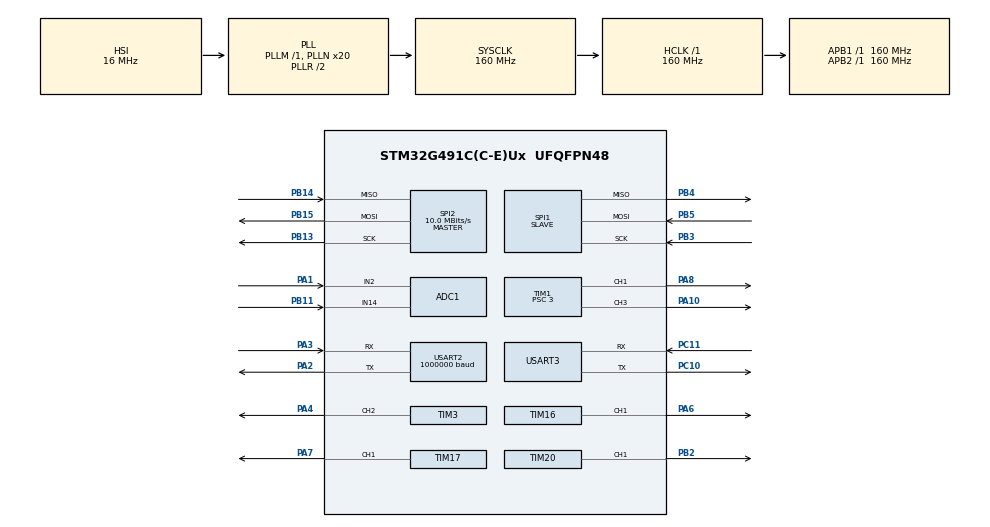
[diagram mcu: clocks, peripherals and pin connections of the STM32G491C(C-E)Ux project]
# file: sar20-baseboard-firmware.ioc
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ADC1.Channel-0\#ChannelRegularConversion=ADC_CHANNEL_2
ADC1.Channel-1\#ChannelRegularConversion=ADC_CHANNEL_14
ADC1.ClockPrescaler=ADC_CLOCK_SYNC_PCLK_DIV4
ADC1.ContinuousConvMode=DISABLE
ADC1.DMAContinuousRequests=ENABLE
ADC1.EOCSelection=ADC_EOC_SEQ_CONV
ADC1.ExternalTrigConv=ADC_EXTERNALTRIG_T7_TRGO
ADC1.NbrOfConversion=2
ADC1.NbrOfConversionFlag=1
ADC1.OffsetNumber-0\#ChannelRegularConversion=ADC_OFFSET_NONE
ADC1.OffsetNumber-1\#ChannelRegularConversion=ADC_OFFSET_NONE
ADC1.Overrun=ADC_OVR_DATA_OVERWRITTEN
ADC1.OversamplingMode=DISABLE
ADC1.Rank-0\#ChannelRegularConversion=1
ADC1.Rank-1\#ChannelRegularConversion=2
ADC1.SamplingTime-0\#ChannelRegularConversion=ADC_SAMPLETIME_6CYCLES_5
ADC1.SamplingTime-1\#ChannelRegularConversion=ADC_SAMPLETIME_6CYCLES_5
ADC1.master=1
CRC.DefaultPolynomialUse=DEFAULT_POLYNOMIAL_ENABLE
CRC.InputDataFormat=CRC_INPUTDATA_FORMAT_WORDS
CRC.InputDataInversionMode=CRC_INPUTDATA_INVERSION_NONE
CRC.OutputDataInversionMode=CRC_OUTPUTDATA_INVERSION_DISABLE
Dma.ADC1.2.Direction=DMA_PERIPH_TO_MEMORY
Dma.ADC1.2.EventEnable=DISABLE
Dma.ADC1.2.Instance=DMA1_Channel3
Dma.ADC1.2.MemDataAlignment=DMA_MDATAALIGN_HALFWORD
Dma.ADC1.2.MemInc=DMA_MINC_ENABLE
Dma.ADC1.2.Mode=DMA_CIRCULAR
Dma.ADC1.2.PeriphDataAlignment=DMA_PDATAALIGN_HALFWORD
Dma.ADC1.2.PeriphInc=DMA_PINC_DISABLE
Dma.ADC1.2.Polarity=HAL_DMAMUX_REQ_GEN_RISING
Dma.ADC1.2.Priority=DMA_PRIORITY_LOW
Dma.ADC1.2.RequestNumber=1
Dma.ADC1.2.SignalID=NONE
Dma.ADC1.2.SyncEnable=DISABLE
Dma.ADC1.2.SyncPolarity=HAL_DMAMUX_SYNC_NO_EVENT
Dma.ADC1.2.SyncRequestNumber=1
Dma.ADC1.2.SyncSignalID=NONE
Dma.Request0=USART3_RX
Dma.Request1=TIM17_CH1
Dma.Request2=ADC1
Dma.Request3=SPI2_RX
Dma.Request4=TIM4_UP
Dma.Request5=SPI1_RX
Dma.Request6=SPI1_TX
Dma.Request7=USART2_RX
Dma.Request8=USART2_TX
Dma.SPI1_RX.5.Direction=DMA_PERIPH_TO_MEMORY
Dma.SPI1_RX.5.EventEnable=DISABLE
Dma.SPI1_RX.5.Instance=DMA1_Channel6
Dma.SPI1_RX.5.MemDataAlignment=DMA_MDATAALIGN_BYTE
Dma.SPI1_RX.5.MemInc=DMA_MINC_ENABLE
Dma.SPI1_RX.5.Mode=DMA_CIRCULAR
Dma.SPI1_RX.5.PeriphDataAlignment=DMA_PDATAALIGN_BYTE
Dma.SPI1_RX.5.PeriphInc=DMA_PINC_DISABLE
Dma.SPI1_RX.5.Polarity=HAL_DMAMUX_REQ_GEN_RISING
Dma.SPI1_RX.5.Priority=DMA_PRIORITY_LOW
Dma.SPI1_RX.5.RequestNumber=1
Dma.SPI1_RX.5.SignalID=NONE
Dma.SPI1_RX.5.SyncEnable=DISABLE
Dma.SPI1_RX.5.SyncPolarity=HAL_DMAMUX_SYNC_NO_EVENT
Dma.SPI1_RX.5.SyncRequestNumber=1
Dma.SPI1_RX.5.SyncSignalID=NONE
Dma.SPI1_TX.6.Direction=DMA_MEMORY_TO_PERIPH
Dma.SPI1_TX.6.EventEnable=DISABLE
Dma.SPI1_TX.6.Instance=DMA1_Channel7
Dma.SPI1_TX.6.MemDataAlignment=DMA_MDATAALIGN_BYTE
Dma.SPI1_TX.6.MemInc=DMA_MINC_ENABLE
Dma.SPI1_TX.6.Mode=DMA_CIRCULAR
Dma.SPI1_TX.6.PeriphDataAlignment=DMA_PDATAALIGN_BYTE
Dma.SPI1_TX.6.PeriphInc=DMA_PINC_DISABLE
Dma.SPI1_TX.6.Polarity=HAL_DMAMUX_REQ_GEN_RISING
Dma.SPI1_TX.6.Priority=DMA_PRIORITY_LOW
Dma.SPI1_TX.6.RequestNumber=1
Dma.SPI1_TX.6.SignalID=NONE
Dma.SPI1_TX.6.SyncEnable=DISABLE
Dma.SPI1_TX.6.SyncPolarity=HAL_DMAMUX_SYNC_NO_EVENT
Dma.SPI1_TX.6.SyncRequestNumber=1
Dma.SPI1_TX.6.SyncSignalID=NONE
Dma.SPI2_RX.3.Direction=DMA_PERIPH_TO_MEMORY
Dma.SPI2_RX.3.EventEnable=DISABLE
Dma.SPI2_RX.3.Instance=DMA1_Channel4
Dma.SPI2_RX.3.MemDataAlignment=DMA_MDATAALIGN_HALFWORD
Dma.SPI2_RX.3.MemInc=DMA_MINC_ENABLE
Dma.SPI2_RX.3.Mode=DMA_CIRCULAR
Dma.SPI2_RX.3.PeriphDataAlignment=DMA_PDATAALIGN_HALFWORD
Dma.SPI2_RX.3.PeriphInc=DMA_PINC_DISABLE
Dma.SPI2_RX.3.Polarity=HAL_DMAMUX_REQ_GEN_RISING
Dma.SPI2_RX.3.Priority=DMA_PRIORITY_LOW
Dma.SPI2_RX.3.RequestNumber=1
Dma.SPI2_RX.3.SignalID=NONE
Dma.SPI2_RX.3.SyncEnable=DISABLE
Dma.SPI2_RX.3.SyncPolarity=HAL_DMAMUX_SYNC_NO_EVENT
Dma.SPI2_RX.3.SyncRequestNumber=1
Dma.SPI2_RX.3.SyncSignalID=NONE
Dma.TIM17_CH1.1.Direction=DMA_MEMORY_TO_PERIPH
Dma.TIM17_CH1.1.EventEnable=DISABLE
Dma.TIM17_CH1.1.Instance=DMA1_Channel2
Dma.TIM17_CH1.1.MemDataAlignment=DMA_MDATAALIGN_HALFWORD
Dma.TIM17_CH1.1.MemInc=DMA_MINC_ENABLE
Dma.TIM17_CH1.1.Mode=DMA_NORMAL
Dma.TIM17_CH1.1.PeriphDataAlignment=DMA_PDATAALIGN_HALFWORD
Dma.TIM17_CH1.1.PeriphInc=DMA_PINC_DISABLE
Dma.TIM17_CH1.1.Polarity=HAL_DMAMUX_REQ_GEN_RISING
Dma.TIM17_CH1.1.Priority=DMA_PRIORITY_LOW
Dma.TIM17_CH1.1.RequestNumber=1
Dma.TIM17_CH1.1.SignalID=NONE
Dma.TIM17_CH1.1.SyncEnable=DISABLE
Dma.TIM17_CH1.1.SyncPolarity=HAL_DMAMUX_SYNC_NO_EVENT
Dma.TIM17_CH1.1.SyncRequestNumber=1
Dma.TIM17_CH1.1.SyncSignalID=NONE
Dma.TIM4_UP.4.Direction=DMA_MEMORY_TO_PERIPH
Dma.TIM4_UP.4.EventEnable=DISABLE
Dma.TIM4_UP.4.Instance=DMA1_Channel5
Dma.TIM4_UP.4.MemDataAlignment=DMA_MDATAALIGN_HALFWORD
Dma.TIM4_UP.4.MemInc=DMA_MINC_ENABLE
Dma.TIM4_UP.4.Mode=DMA_CIRCULAR
Dma.TIM4_UP.4.PeriphDataAlignment=DMA_PDATAALIGN_HALFWORD
Dma.TIM4_UP.4.PeriphInc=DMA_PINC_DISABLE
Dma.TIM4_UP.4.Polarity=HAL_DMAMUX_REQ_GEN_RISING
Dma.TIM4_UP.4.Priority=DMA_PRIORITY_LOW
Dma.TIM4_UP.4.RequestNumber=1
Dma.TIM4_UP.4.SignalID=NONE
Dma.TIM4_UP.4.SyncEnable=DISABLE
Dma.TIM4_UP.4.SyncPolarity=HAL_DMAMUX_SYNC_NO_EVENT
Dma.TIM4_UP.4.SyncRequestNumber=1
Dma.TIM4_UP.4.SyncSignalID=NONE
Dma.USART2_RX.7.Direction=DMA_PERIPH_TO_MEMORY
Dma.USART2_RX.7.EventEnable=DISABLE
Dma.USART2_RX.7.Instance=DMA1_Channel8
Dma.USART2_RX.7.MemDataAlignment=DMA_MDATAALIGN_BYTE
Dma.USART2_RX.7.MemInc=DMA_MINC_ENABLE
Dma.USART2_RX.7.Mode=DMA_CIRCULAR
Dma.USART2_RX.7.PeriphDataAlignment=DMA_PDATAALIGN_BYTE
Dma.USART2_RX.7.PeriphInc=DMA_PINC_DISABLE
Dma.USART2_RX.7.Polarity=HAL_DMAMUX_REQ_GEN_RISING
Dma.USART2_RX.7.Priority=DMA_PRIORITY_LOW
Dma.USART2_RX.7.RequestNumber=1
Dma.USART2_RX.7.SignalID=NONE
Dma.USART2_RX.7.SyncEnable=DISABLE
Dma.USART2_RX.7.SyncPolarity=HAL_DMAMUX_SYNC_NO_EVENT
Dma.USART2_RX.7.SyncRequestNumber=1
Dma.USART2_RX.7.SyncSignalID=NONE
Dma.USART2_TX.8.Direction=DMA_MEMORY_TO_PERIPH
Dma.USART2_TX.8.EventEnable=DISABLE
Dma.USART2_TX.8.Instance=DMA2_Channel1
Dma.USART2_TX.8.MemDataAlignment=DMA_MDATAALIGN_BYTE
Dma.USART2_TX.8.MemInc=DMA_MINC_ENABLE
Dma.USART2_TX.8.Mode=DMA_NORMAL
Dma.USART2_TX.8.PeriphDataAlignment=DMA_PDATAALIGN_BYTE
Dma.USART2_TX.8.PeriphInc=DMA_PINC_DISABLE
Dma.USART2_TX.8.Polarity=HAL_DMAMUX_REQ_GEN_RISING
Dma.USART2_TX.8.Priority=DMA_PRIORITY_LOW
Dma.USART2_TX.8.RequestNumber=1
Dma.USART2_TX.8.SignalID=NONE
Dma.USART2_TX.8.SyncEnable=DISABLE
Dma.USART2_TX.8.SyncPolarity=HAL_DMAMUX_SYNC_NO_EVENT
Dma.USART2_TX.8.SyncRequestNumber=1
Dma.USART2_TX.8.SyncSignalID=NONE
Dma.USART3_RX.0.Direction=DMA_PERIPH_TO_MEMORY
Dma.USART3_RX.0.EventEnable=DISABLE
Dma.USART3_RX.0.Instance=DMA1_Channel1
Dma.USART3_RX.0.MemDataAlignment=DMA_MDATAALIGN_BYTE
Dma.USART3_RX.0.MemInc=DMA_MINC_ENABLE
Dma.USART3_RX.0.Mode=DMA_CIRCULAR
Dma.USART3_RX.0.PeriphDataAlignment=DMA_PDATAALIGN_BYTE
Dma.USART3_RX.0.PeriphInc=DMA_PINC_DISABLE
Dma.USART3_RX.0.Polarity=HAL_DMAMUX_REQ_GEN_RISING
Dma.USART3_RX.0.Priority=DMA_PRIORITY_LOW
Dma.USART3_RX.0.RequestNumber=1
Dma.USART3_RX.0.SignalID=NONE
Dma.USART3_RX.0.SyncEnable=DISABLE
Dma.USART3_RX.0.SyncPolarity=HAL_DMAMUX_SYNC_NO_EVENT
Dma.USART3_RX.0.SyncRequestNumber=1
Dma.USART3_RX.0.SyncSignalID=NONE
Mcu.Family=STM32G4
Mcu.Name=STM32G491C(C-E)Ux
Mcu.Package=UFQFPN48
NVIC.ADC1_2_IRQn=true\:0\:0\:false\:false\:true\:true\:true
NVIC.DMA1_Channel1_IRQn=true\:0\:0\:false\:false\:true\:false\:true
NVIC.DMA1_Channel2_IRQn=true\:0\:0\:false\:false\:true\:false\:true
NVIC.DMA1_Channel3_IRQn=true\:0\:0\:false\:false\:true\:false\:true
NVIC.DMA1_Channel4_IRQn=true\:0\:0\:false\:false\:true\:false\:true
NVIC.DMA1_Channel5_IRQn=true\:0\:0\:false\:false\:true\:false\:true
NVIC.DMA1_Channel6_IRQn=true\:0\:0\:false\:false\:true\:false\:true
NVIC.DMA1_Channel7_IRQn=true\:0\:0\:false\:false\:true\:false\:true
NVIC.DMA1_Channel8_IRQn=true\:0\:0\:false\:false\:true\:false\:true
NVIC.DMA2_Channel1_IRQn=true\:0\:0\:false\:false\:true\:false\:true
NVIC.PriorityGroup=NVIC_PRIORITYGROUP_4
NVIC.USART2_IRQn=true\:0\:0\:false\:false\:true\:true\:true
NVIC.USART3_IRQn=true\:0\:0\:false\:false\:true\:true\:true
PA1.Mode=IN2-Single-Ended
PA1.Signal=ADC1_IN2
PA10.Signal=S_TIM1_CH3
PA13.Mode=Serial_Wire
PA13.Signal=SYS_JTMS-SWDIO
PA14.Mode=Serial_Wire
PA14.Signal=SYS_JTCK-SWCLK
PA2.GPIO_Speed=GPIO_SPEED_FREQ_LOW
PA2.Mode=Asynchronous
PA2.Signal=USART2_TX
PA3.GPIO_Speed=GPIO_SPEED_FREQ_LOW
PA3.Mode=Asynchronous
PA3.Signal=USART2_RX
PA4.Signal=S_TIM3_CH2
PA6.Signal=S_TIM16_CH1
PA7.Signal=S_TIM17_CH1
PA8.Signal=S_TIM1_CH1
PB11.Mode=IN14-Single-Ended
PB11.Signal=ADC1_IN14
PB13.Mode=Full_Duplex_Master
PB13.Signal=SPI2_SCK
PB14.Mode=Full_Duplex_Master
PB14.Signal=SPI2_MISO
PB15.Mode=Full_Duplex_Master
PB15.Signal=SPI2_MOSI
PB2.Mode=PWM Generation1 CH1
PB2.Signal=TIM20_CH1
PB3.Mode=Full_Duplex_Slave
PB3.Signal=SPI1_SCK
PB4.Mode=Full_Duplex_Slave
PB4.Signal=SPI1_MISO
PB5.Mode=Full_Duplex_Slave
PB5.Signal=SPI1_MOSI
PC10.Mode=Asynchronous
PC10.Signal=USART3_TX
PC11.Mode=Asynchronous
PC11.Signal=USART3_RX
ProjectManager.HeapSize=0x200
ProjectManager.StackSize=0x400
ProjectManager.TargetToolchain=STM32CubeIDE
RCC.ADC12Freq_Value=160000000
RCC.ADC345Freq_Value=160000000
RCC.AHBFreq_Value=160000000
RCC.APB1Freq_Value=160000000
RCC.APB1TimFreq_Value=160000000
RCC.APB2Freq_Value=160000000
RCC.APB2TimFreq_Value=160000000
RCC.CortexFreq_Value=160000000
RCC.EXTERNAL_CLOCK_VALUE=12288000
RCC.HCLKFreq_Value=160000000
RCC.HSE_VALUE=8000000
RCC.HSI48_VALUE=48000000
RCC.HSI_VALUE=16000000
RCC.LSE_VALUE=32768
RCC.PLLN=20
RCC.SYSCLKFreq_VALUE=160000000
RCC.SYSCLKSource=RCC_SYSCLKSOURCE_PLLCLK
RCC.USBFreq_Value=48000000
RCC.VCOOutputFreq_Value=320000000
SH.S_TIM16_CH1.0=TIM16_CH1,PWM Generation1 CH1
SH.S_TIM17_CH1.0=TIM17_CH1,PWM Generation1 CH1
SH.S_TIM1_CH1.0=TIM1_CH1,PWM Generation1 CH1
SH.S_TIM1_CH3.0=TIM1_CH3,PWM Generation3 CH3
SH.S_TIM3_CH2.0=TIM3_CH2,PWM Generation2 CH2
SPI1.Direction=SPI_DIRECTION_2LINES
SPI1.Mode=SPI_MODE_SLAVE
SPI1.VirtualType=VM_SLAVE
SPI2.BaudRatePrescaler=SPI_BAUDRATEPRESCALER_16
SPI2.CalculateBaudRate=10.0 MBits/s
SPI2.DataSize=SPI_DATASIZE_16BIT
SPI2.Direction=SPI_DIRECTION_2LINES
SPI2.Mode=SPI_MODE_MASTER
SPI2.VirtualType=VM_MASTER
TIM1.Channel-PWM\ Generation1\ CH1=TIM_CHANNEL_1
TIM1.Channel-PWM\ Generation2\ No\ Output=TIM_CHANNEL_2
TIM1.Channel-PWM\ Generation3\ CH3=TIM_CHANNEL_3
TIM1.Channel-PWM\ Generation4\ No\ Output=TIM_CHANNEL_4
TIM1.OCIdleState_1=TIM_OCIDLESTATE_SET
TIM1.OCIdleState_2=TIM_OCIDLESTATE_SET
TIM1.OCIdleState_3=TIM_OCIDLESTATE_SET
TIM1.OCIdleState_4=TIM_OCIDLESTATE_SET
TIM1.OCMode_PWM-PWM\ Generation1\ CH1=TIM_OCMODE_COMBINED_PWM2
TIM1.OCMode_PWM-PWM\ Generation2\ No\ Output=TIM_OCMODE_COMBINED_PWM1
TIM1.OCMode_PWM-PWM\ Generation3\ CH3=TIM_OCMODE_COMBINED_PWM2
TIM1.OCMode_PWM-PWM\ Generation4\ No\ Output=TIM_OCMODE_COMBINED_PWM1
TIM1.OCPolarity_1=TIM_OCPOLARITY_LOW
TIM1.OCPolarity_2=TIM_OCPOLARITY_LOW
TIM1.OCPolarity_3=TIM_OCPOLARITY_LOW
TIM1.OCPolarity_4=TIM_OCPOLARITY_LOW
TIM1.PeriodNoDither=39999
TIM1.Prescaler=3
TIM1.PulseNoDither_1=45
TIM1.PulseNoDither_2=124
TIM1.PulseNoDither_3=125
TIM1.PulseNoDither_4=204
TIM1.TIM_MasterOutputTrigger=TIM_TRGO_UPDATE
TIM1.TIM_MasterSlaveMode=TIM_MASTERSLAVEMODE_ENABLE
TIM15.Channel-PWM\ Generation1\ No\ Output=TIM_CHANNEL_1
TIM15.PeriodNoDither=39999
TIM15.Prescaler=3
TIM15.PulseNoDither_1=240
TIM15.TIM_MasterOutputTrigger=TIM_TRGO_OC1REF
TIM15.TIM_MasterSlaveMode=TIM_MASTERSLAVEMODE_ENABLE
TIM16.Channel=TIM_CHANNEL_1
TIM16.PeriodNoDither=6399
TIM16.PulseNoDither_1=3200
TIM17.Channel=TIM_CHANNEL_1
TIM17.PeriodNoDither=200
TIM17.PulseNoDither_1=50
TIM20.Channel-PWM\ Generation1\ CH1=TIM_CHANNEL_1
TIM20.Channel-PWM\ Generation2\ No\ Output=TIM_CHANNEL_2
TIM20.OCIdleState_1=TIM_OCIDLESTATE_SET
TIM20.OCIdleState_2=TIM_OCIDLESTATE_SET
TIM20.OCMode_PWM-PWM\ Generation1\ CH1=TIM_OCMODE_COMBINED_PWM2
TIM20.OCMode_PWM-PWM\ Generation2\ No\ Output=TIM_OCMODE_COMBINED_PWM1
TIM20.OCPolarity_1=TIM_OCPOLARITY_LOW
TIM20.OCPolarity_2=TIM_OCPOLARITY_LOW
TIM20.PeriodNoDither=39999
TIM20.Prescaler=3
TIM20.PulseNoDither_1=205
TIM20.PulseNoDither_2=284
TIM20.TIM_MasterSlaveMode=TIM_MASTERSLAVEMODE_ENABLE
TIM3.Channel-PWM\ Generation2\ CH2=TIM_CHANNEL_2
TIM3.PeriodNoDither=39999
TIM3.PulseNoDither_2=0
TIM4.PeriodNoDither=287
TIM4.TIM_MasterSlaveMode=TIM_MASTERSLAVEMODE_ENABLE
TIM7.PeriodNoDither=63999
TIM7.Prescaler=249
TIM7.TIM_MasterOutputTrigger=TIM_TRGO_UPDATE
USART2.BaudRate=1000000
USART2.VirtualMode-Asynchronous=VM_ASYNC
USART3.VirtualMode-Asynchronous=VM_ASYNC
VP_CRC_VS_CRC.Mode=CRC_Activate
VP_SYS_VS_DBSignals.Mode=DisableDeadBatterySignals
VP_SYS_V_VREFBUF.Mode=ExternalMode
VP_TIM15_VS_ClockSourceITR.Mode=TriggerSource_ITR0
VP_TIM15_VS_ControllerModeTrigger.Mode=Trigger Mode
VP_TIM15_VS_no_output1.Mode=PWM Generation1 No Output
VP_TIM16_VS_ClockSourceINT.Mode=Enable_Timer
VP_TIM17_VS_ClockSourceINT.Mode=Enable_Timer
VP_TIM1_VS_no_output2.Mode=PWM Generation2 No Output
VP_TIM1_VS_no_output4.Mode=PWM Generation4 No Output
VP_TIM20_VS_ClockSourceITR.Mode=TriggerSource_ITR0
VP_TIM20_VS_ControllerModeTrigger.Mode=Trigger Mode
VP_TIM20_VS_no_output2.Mode=PWM Generation2 No Output
VP_TIM4_VS_ClockSourceINT.Mode=Internal
VP_TIM4_VS_ClockSourceITR.Mode=TriggerSource_ITR6
VP_TIM4_VS_ControllerModeCombinedResetTrigger.Mode=Combined_gated_reset_Mode
VP_TIM7_VS_ClockSourceINT.Mode=Enable_Timer
board=custom

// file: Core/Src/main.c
/* USER CODE BEGIN Header */
/**
  ******************************************************************************
  * @file           : main.c
  * @brief          : Main program body
  ******************************************************************************
  * @attention
  *
  * <h2><center>&copy; Copyright (c) 2021 STMicroelectronics.
  * All rights reserved.</center></h2>
  *
  * This software component is licensed by ST under BSD 3-Clause license,
  * the "License"; You may not use this file except in compliance with the
  * License. You may obtain a copy of the License at:
  *                        opensource.org/licenses/BSD-3-Clause
  *
  ******************************************************************************
  */
/* USER CODE END Header */
#include "main.h"

/* USER CODE BEGIN Includes */
#include <string.h>
/* USER CODE END Includes */

/* USER CODE BEGIN PTD */
typedef struct MainCommand {
  float speed1Hz;
  float speed2Hz;
  float speed3Hz;
  uint32_t crcValue;
} MainCommand;

typedef struct MainFeedback {
  uint16_t position1;
  uint16_t position2;
  uint16_t position3;
  int16_t distances[12];
  uint32_t crcValue;
} MainFeedback;

typedef struct DebugCommand {
  float speed1Hz;
  float speed2Hz;
  float speed3Hz;
  uint32_t requestInfo;
  uint32_t crcValue;
} DebugCommand;

typedef struct __attribute__((packed)) DebugFeedback {
  uint16_t position1;
  uint16_t position2;
  uint16_t position3;
  int16_t distances[12];
  uint16_t delimiter;
} DebugFeedback;

typedef struct __attribute__((packed)) MotorsCommand {
  int16_t speedRef1_mHz;
  int16_t speedRef2_mHz;
  int16_t speedRef3_mHz;
} MotorsCommand;

typedef struct __attribute__((packed)) MotorsFeedback {
  uint16_t position1;
  uint16_t position2;
  uint16_t position3;
} MotorsFeedback;

typedef struct __attribute__((packed)) DistanceFeedback {
  int16_t distances[12];
} DistanceFeedback;
/* USER CODE END PTD */

/* USER CODE BEGIN PM */
#define max(a,b)             \
({                           \
    __typeof__ (a) _a = (a); \
    __typeof__ (b) _b = (b); \
    _a > _b ? _a : _b;       \
})

#define min(a,b)             \
({                           \
    __typeof__ (a) _a = (a); \
    __typeof__ (b) _b = (b); \
    _a < _b ? _a : _b;       \
})
/* USER CODE END PM */

ADC_HandleTypeDef hadc1;
DMA_HandleTypeDef hdma_adc1;

CRC_HandleTypeDef hcrc;

SPI_HandleTypeDef hspi1;
SPI_HandleTypeDef hspi2;
DMA_HandleTypeDef hdma_spi1_rx;
DMA_HandleTypeDef hdma_spi1_tx;
DMA_HandleTypeDef hdma_spi2_rx;

TIM_HandleTypeDef htim1;
TIM_HandleTypeDef htim3;
TIM_HandleTypeDef htim4;
TIM_HandleTypeDef htim7;
TIM_HandleTypeDef htim15;
TIM_HandleTypeDef htim16;
TIM_HandleTypeDef htim17;
TIM_HandleTypeDef htim20;
DMA_HandleTypeDef hdma_tim4_up;
DMA_HandleTypeDef hdma_tim17_ch1;

UART_HandleTypeDef huart2;
UART_HandleTypeDef huart3;
DMA_HandleTypeDef hdma_usart2_rx;
DMA_HandleTypeDef hdma_usart2_tx;
DMA_HandleTypeDef hdma_usart3_rx;

/* USER CODE BEGIN PV */
MainCommand mainCommand = {
    .speed1Hz = 0.0f,
    .speed2Hz = 0.0f,
    .speed3Hz = 0.0f,
    .crcValue = 0
};

MainFeedback mainFeedback = {
    .position1 = 0,
    .position2 = 0,
    .position3 = 0,
    .distances = {},
    .crcValue = 0
};

DebugCommand debugCommand = {
    .speed1Hz = 0.0f,
    .speed2Hz = 0.0f,
    .speed3Hz = 0.0f,
    .requestInfo = 0,
    .crcValue = 0
};

DebugFeedback debugFeedback = {
    .position1 = 0,
    .position2 = 0,
    .position3 = 0,
    .distances = {},
    .delimiter = 0xAAAA
};

MotorsCommand motorsCommand = {
    .speedRef1_mHz = 0,
    .speedRef2_mHz = 0,
    .speedRef3_mHz = 0
};

MotorsFeedback motorsFeedback = {
    .position1 = 0,
    .position2 = 0,
    .position3 = 0
};

DistanceFeedback distanceFeedback = {
    .distances = {}
};
/* USER CODE END PV */

void SystemClock_Config(void);
static void MX_GPIO_Init(void);
static void MX_DMA_Init(void);
static void MX_TIM16_Init(void);
static void MX_USART3_UART_Init(void);
static void MX_CRC_Init(void);
static void MX_TIM17_Init(void);
static void MX_ADC1_Init(void);
static void MX_TIM7_Init(void);
static void MX_TIM3_Init(void);
static void MX_TIM1_Init(void);
static void MX_TIM20_Init(void);
static void MX_SPI2_Init(void);
static void MX_TIM4_Init(void);
static void MX_TIM15_Init(void);
static void MX_SPI1_Init(void);
static void MX_USART2_UART_Init(void);

/* USER CODE BEGIN 0 */
uint8_t uartRxData[20];
uint32_t debugCommandCRCValue = 0;
uint32_t uartRxEventCallbackCounter = 0;
uint32_t uartRxEventCallbackByteCounter = 0;
volatile uint32_t hasReceivedUARTCommand = 0;
volatile uint32_t hasReceivedDistanceFeedback = 0;
uint32_t shouldSendDebugInfo = 0;

uint16_t ledPWMPeriods[49] = {};
uint8_t ledColorValues[6] = {50, 50, 50, 50, 50, 50};

uint16_t adcData[2] = {0, 0};
uint32_t adcMeasurementsDone = 0;

volatile uint32_t hasReceivedMainCommand = 0;
uint32_t mainCommandCRCValue = 0;

int limit(int value, int min, int max) {
  if (value < min) return min;
  if (value > max) return max;
  return value;
}

void setMotorSpeedCommand(MotorsCommand* command, float speed1, float speed2, float speed3) {
  command->speedRef1_mHz = (int16_t)(speed1 * 1000.0f);
  command->speedRef2_mHz = (int16_t)(speed2 * 1000.0f);
  command->speedRef3_mHz = (int16_t)(speed3 * 1000.0f);
}

void setLEDs(uint8_t grbValues[]) {
  for (int i = 0; i < 6; i++) {
    uint8_t colorValue = grbValues[i];

    for (int k = 0; k < 8; k++) {
      int index = 8 * i + k;
      int bitMask = 1 << (7 - k);
      int bitValue = colorValue & bitMask;

      ledPWMPeriods[index] = bitValue ? 100 : 50;
    }
  }
}

void HAL_SPI_RxCpltCallback(SPI_HandleTypeDef *hspi) {
  hasReceivedMainCommand = 1;
}

void HAL_UART_RxCpltCallback(UART_HandleTypeDef *huart) {
  if (huart == &huart2) {
    hasReceivedDistanceFeedback = 1;
  } else if (huart == &huart3) {
    hasReceivedUARTCommand = 1;
  }
}

void HAL_ADC_ConvCpltCallback(ADC_HandleTypeDef *hadc) {
  adcMeasurementsDone = 1;
}
/* USER CODE END 0 */

int main(void)
{

  /* MCU Configuration--------------------------------------------------------*/

  /* Reset of all peripherals, Initializes the Flash interface and the Systick. */
  HAL_Init();

  /* Configure the system clock */
  SystemClock_Config();

  /* Initialize all configured peripherals */
  MX_GPIO_Init();
  MX_DMA_Init();
  MX_TIM16_Init();
  MX_USART3_UART_Init();
  MX_CRC_Init();
  MX_TIM17_Init();
  MX_ADC1_Init();
  MX_TIM7_Init();
  MX_TIM3_Init();
  MX_TIM1_Init();
  MX_TIM20_Init();
  MX_SPI2_Init();
  MX_TIM4_Init();
  MX_TIM15_Init();
  MX_SPI1_Init();
  MX_USART2_UART_Init();
  /* USER CODE BEGIN 2 */
  HAL_ADC_Start_DMA(&hadc1, (uint32_t*)adcData, 2);
  HAL_ADC_Start_IT(&hadc1);
  HAL_TIM_Base_Start(&htim7);

  HAL_UART_Receive_DMA(&huart2, (uint8_t*)&distanceFeedback, sizeof(distanceFeedback));

  HAL_TIM_PWM_Start(&htim16, TIM_CHANNEL_1);
  HAL_UART_Receive_DMA(&huart3, uartRxData, sizeof(uartRxData));

  ledPWMPeriods[48] = 0;
  setLEDs(ledColorValues);
  HAL_TIM_PWM_Start_DMA(&htim17, TIM_CHANNEL_1, (uint32_t*)ledPWMPeriods, sizeof(ledPWMPeriods) / sizeof(ledPWMPeriods[0]));

  htim3.Instance->CCR2 = 0;
  HAL_TIM_PWM_Start(&htim3, TIM_CHANNEL_2);

  // Motors SPI
  uint16_t nssOffset = 78;
  uint16_t nssPeriod = 72;

  htim1.Instance->CCR1 = nssOffset;
  htim1.Instance->CCR2 = nssOffset + nssPeriod - 1;
  htim1.Instance->CCR3 = nssOffset + nssPeriod;
  htim1.Instance->CCR4 = nssOffset + nssPeriod * 2 - 1;
  htim20.Instance->CCR1 = nssOffset + nssPeriod * 2;
  htim20.Instance->CCR2 = nssOffset + nssPeriod * 3 - 1;
  htim15.Instance->CCR1 = 160; // 1 unit = 25ns

  htim4.Instance->ARR = nssPeriod * 4 - 1;
  htim4.Instance->CNT = 0;

  HAL_SPI_Receive_DMA(&hspi2, (uint8_t*)&motorsFeedback, 3);
  HAL_DMA_Start(&hdma_tim4_up, (uint32_t)&motorsCommand, (uint32_t)&(hspi2.Instance->DR), 3);
  __HAL_TIM_ENABLE_DMA(&htim4, TIM_DMA_UPDATE);
  // TIM20 for NSS3
  HAL_TIM_PWM_Start(&htim20, TIM_CHANNEL_1);
  HAL_TIM_PWM_Start(&htim20, TIM_CHANNEL_2);

  __HAL_SPI_ENABLE(&hspi2);
  HAL_TIM_Base_Start(&htim15);

  HAL_TIM_PWM_Start(&htim1, TIM_CHANNEL_1);
  HAL_TIM_PWM_Start(&htim1, TIM_CHANNEL_2);
  HAL_TIM_PWM_Start(&htim1, TIM_CHANNEL_3);
  HAL_TIM_PWM_Start(&htim1, TIM_CHANNEL_4);

  HAL_TIM_Base_Start(&htim4);

  HAL_SPI_TransmitReceive_DMA(&hspi1, (uint8_t*)&mainFeedback, (uint8_t*)&mainCommand, sizeof(mainCommand));
  /* USER CODE END 2 */

  /* Infinite loop */
  while (1)
  {

    /* USER CODE BEGIN 3 */
    if (hasReceivedMainCommand) {
      hasReceivedMainCommand = 0;

      mainCommandCRCValue = HAL_CRC_Calculate(&hcrc, (uint32_t*)&mainCommand, sizeof(mainCommand) / 4 - 1);

      if (mainCommandCRCValue == mainCommand.crcValue) {
        setMotorSpeedCommand(&motorsCommand, mainCommand.speed1Hz, mainCommand.speed2Hz, mainCommand.speed3Hz);
      }
    }

    if (hasReceivedDistanceFeedback) {
      hasReceivedDistanceFeedback = 0;

      memcpy(mainFeedback.distances, distanceFeedback.distances, sizeof(mainFeedback.distances));
    }

    if (hasReceivedUARTCommand) {
      hasReceivedUARTCommand = 0;

      debugCommandCRCValue = HAL_CRC_Calculate(&hcrc, (uint32_t*)uartRxData, sizeof(debugCommand) / 4 - 1);

      uint32_t receivedCRCValue = ((uint32_t *)uartRxData)[sizeof(uartRxData) / 4 - 1]; // last uint32 in the buffer

      if (debugCommandCRCValue == receivedCRCValue) {
        memcpy(&debugCommand, uartRxData, sizeof(uartRxData));

        shouldSendDebugInfo = debugCommand.requestInfo;
        setMotorSpeedCommand(&motorsCommand, debugCommand.speed1Hz, debugCommand.speed2Hz, debugCommand.speed3Hz);
      }
    }

    if (shouldSendDebugInfo) {
      shouldSendDebugInfo = 0;

      debugFeedback.position1 = motorsFeedback.position1;
      debugFeedback.position2 = motorsFeedback.position2;
      debugFeedback.position3 = motorsFeedback.position3;

      memcpy(debugFeedback.distances, distanceFeedback.distances, sizeof(debugFeedback.distances));

      HAL_UART_Transmit(&huart3, (uint8_t*)&debugFeedback, sizeof(debugFeedback), 1000);
    }

    if (adcMeasurementsDone) {
      adcMeasurementsDone = 0;
      uint16_t mainBatteryVoltage_mV = adcData[0] / 2;
      uint16_t motorsBatteryVoltage_mV = adcData[1] / 2;

      int32_t mainBatteryChargePercentage = limit((mainBatteryVoltage_mV - 900) / 3, 0, 100);
      int32_t motorsBatteryChargePercentage = limit((motorsBatteryVoltage_mV - 900) / 3, 0, 100);

      if (motorsBatteryVoltage_mV > 10) {
        ledColorValues[0] = motorsBatteryChargePercentage / 4;
        ledColorValues[1] = (100 - motorsBatteryChargePercentage) / 4;
        ledColorValues[2] = 0;
      } else {
        ledColorValues[0] = 0;
        ledColorValues[1] = 0;
        ledColorValues[2] = 25;
      }

      if (mainBatteryVoltage_mV > 10) {
        ledColorValues[3] = mainBatteryChargePercentage / 4;
        ledColorValues[4] = (100 - mainBatteryChargePercentage) / 4;
        ledColorValues[5] = 0;
      } else {
        ledColorValues[3] = 0;
        ledColorValues[4] = 0;
        ledColorValues[5] = 25;
      }

      setLEDs(ledColorValues);
      HAL_TIM_PWM_Start_DMA(&htim17, TIM_CHANNEL_1, (uint32_t*)ledPWMPeriods, sizeof(ledPWMPeriods) / sizeof(ledPWMPeriods[0]));
    }

    mainFeedback.position1 = motorsFeedback.position1;
    mainFeedback.position2 = motorsFeedback.position2;
    mainFeedback.position3 = motorsFeedback.position3;
    mainFeedback.crcValue = HAL_CRC_Calculate(&hcrc, (uint32_t*)&mainFeedback, sizeof(mainFeedback) / 4 - 1);
  }
  /* USER CODE END 3 */
}

void SystemClock_Config(void)
{
  RCC_OscInitTypeDef RCC_OscInitStruct = {0};
  RCC_ClkInitTypeDef RCC_ClkInitStruct = {0};
  RCC_PeriphCLKInitTypeDef PeriphClkInit = {0};

  /** Configure the main internal regulator output voltage
  */
  HAL_PWREx_ControlVoltageScaling(PWR_REGULATOR_VOLTAGE_SCALE1_BOOST);
  /** Initializes the RCC Oscillators according to the specified parameters
  * in the RCC_OscInitTypeDef structure.
  */
  RCC_OscInitStruct.OscillatorType = RCC_OSCILLATORTYPE_HSI;
  RCC_OscInitStruct.HSIState = RCC_HSI_ON;
  RCC_OscInitStruct.HSICalibrationValue = RCC_HSICALIBRATION_DEFAULT;
  RCC_OscInitStruct.PLL.PLLState = RCC_PLL_ON;
  RCC_OscInitStruct.PLL.PLLSource = RCC_PLLSOURCE_HSI;
  RCC_OscInitStruct.PLL.PLLM = RCC_PLLM_DIV1;
  RCC_OscInitStruct.PLL.PLLN = 20;
  RCC_OscInitStruct.PLL.PLLP = RCC_PLLP_DIV2;
  RCC_OscInitStruct.PLL.PLLQ = RCC_PLLQ_DIV2;
  RCC_OscInitStruct.PLL.PLLR = RCC_PLLR_DIV2;
  if (HAL_RCC_OscConfig(&RCC_OscInitStruct) != HAL_OK)
  {
    Error_Handler();
  }
  /** Initializes the CPU, AHB and APB buses clocks
  */
  RCC_ClkInitStruct.ClockType = RCC_CLOCKTYPE_HCLK|RCC_CLOCKTYPE_SYSCLK
                              |RCC_CLOCKTYPE_PCLK1|RCC_CLOCKTYPE_PCLK2;
  RCC_ClkInitStruct.SYSCLKSource = RCC_SYSCLKSOURCE_PLLCLK;
  RCC_ClkInitStruct.AHBCLKDivider = RCC_SYSCLK_DIV1;
  RCC_ClkInitStruct.APB1CLKDivider = RCC_HCLK_DIV1;
  RCC_ClkInitStruct.APB2CLKDivider = RCC_HCLK_DIV1;

  if (HAL_RCC_ClockConfig(&RCC_ClkInitStruct, FLASH_LATENCY_4) != HAL_OK)
  {
    Error_Handler();
  }
  /** Initializes the peripherals clocks
  */
  PeriphClkInit.PeriphClockSelection = RCC_PERIPHCLK_USART2|RCC_PERIPHCLK_USART3
                              |RCC_PERIPHCLK_ADC12;
  PeriphClkInit.Usart2ClockSelection = RCC_USART2CLKSOURCE_PCLK1;
  PeriphClkInit.Usart3ClockSelection = RCC_USART3CLKSOURCE_PCLK1;
  PeriphClkInit.Adc12ClockSelection = RCC_ADC12CLKSOURCE_SYSCLK;
  if (HAL_RCCEx_PeriphCLKConfig(&PeriphClkInit) != HAL_OK)
  {
    Error_Handler();
  }
}

static void MX_ADC1_Init(void)
{

  ADC_MultiModeTypeDef multimode = {0};
  ADC_ChannelConfTypeDef sConfig = {0};

  /** Common config
  */
  hadc1.Instance = ADC1;
  hadc1.Init.ClockPrescaler = ADC_CLOCK_SYNC_PCLK_DIV4;
  hadc1.Init.Resolution = ADC_RESOLUTION_12B;
  hadc1.Init.DataAlign = ADC_DATAALIGN_RIGHT;
  hadc1.Init.GainCompensation = 0;
  hadc1.Init.ScanConvMode = ADC_SCAN_ENABLE;
  hadc1.Init.EOCSelection = ADC_EOC_SEQ_CONV;
  hadc1.Init.LowPowerAutoWait = DISABLE;
  hadc1.Init.ContinuousConvMode = DISABLE;
  hadc1.Init.NbrOfConversion = 2;
  hadc1.Init.DiscontinuousConvMode = DISABLE;
  hadc1.Init.ExternalTrigConv = ADC_EXTERNALTRIG_T7_TRGO;
  hadc1.Init.ExternalTrigConvEdge = ADC_EXTERNALTRIGCONVEDGE_RISING;
  hadc1.Init.DMAContinuousRequests = ENABLE;
  hadc1.Init.Overrun = ADC_OVR_DATA_OVERWRITTEN;
  hadc1.Init.OversamplingMode = DISABLE;
  if (HAL_ADC_Init(&hadc1) != HAL_OK)
  {
    Error_Handler();
  }
  /** Configure the ADC multi-mode
  */
  multimode.Mode = ADC_MODE_INDEPENDENT;
  if (HAL_ADCEx_MultiModeConfigChannel(&hadc1, &multimode) != HAL_OK)
  {
    Error_Handler();
  }
  /** Configure Regular Channel
  */
  sConfig.Channel = ADC_CHANNEL_2;
  sConfig.Rank = ADC_REGULAR_RANK_1;
  sConfig.SamplingTime = ADC_SAMPLETIME_6CYCLES_5;
  sConfig.SingleDiff = ADC_SINGLE_ENDED;
  sConfig.OffsetNumber = ADC_OFFSET_NONE;
  sConfig.Offset = 0;
  if (HAL_ADC_ConfigChannel(&hadc1, &sConfig) != HAL_OK)
  {
    Error_Handler();
  }
  /** Configure Regular Channel
  */
  sConfig.Channel = ADC_CHANNEL_14;
  sConfig.Rank = ADC_REGULAR_RANK_2;
  if (HAL_ADC_ConfigChannel(&hadc1, &sConfig) != HAL_OK)
  {
    Error_Handler();
  }

}

static void MX_CRC_Init(void)
{

  hcrc.Instance = CRC;
  hcrc.Init.DefaultPolynomialUse = DEFAULT_POLYNOMIAL_ENABLE;
  hcrc.Init.DefaultInitValueUse = DEFAULT_INIT_VALUE_ENABLE;
  hcrc.Init.InputDataInversionMode = CRC_INPUTDATA_INVERSION_NONE;
  hcrc.Init.OutputDataInversionMode = CRC_OUTPUTDATA_INVERSION_DISABLE;
  hcrc.InputDataFormat = CRC_INPUTDATA_FORMAT_WORDS;
  if (HAL_CRC_Init(&hcrc) != HAL_OK)
  {
    Error_Handler();
  }

}

static void MX_SPI1_Init(void)
{

  /* SPI1 parameter configuration*/
  hspi1.Instance = SPI1;
  hspi1.Init.Mode = SPI_MODE_SLAVE;
  hspi1.Init.Direction = SPI_DIRECTION_2LINES;
  hspi1.Init.DataSize = SPI_DATASIZE_8BIT;
  hspi1.Init.CLKPolarity = SPI_POLARITY_LOW;
  hspi1.Init.CLKPhase = SPI_PHASE_1EDGE;
  hspi1.Init.NSS = SPI_NSS_SOFT;
  hspi1.Init.FirstBit = SPI_FIRSTBIT_MSB;
  hspi1.Init.TIMode = SPI_TIMODE_DISABLE;
  hspi1.Init.CRCCalculation = SPI_CRCCALCULATION_DISABLE;
  hspi1.Init.CRCPolynomial = 7;
  hspi1.Init.CRCLength = SPI_CRC_LENGTH_DATASIZE;
  hspi1.Init.NSSPMode = SPI_NSS_PULSE_DISABLE;
  if (HAL_SPI_Init(&hspi1) != HAL_OK)
  {
    Error_Handler();
  }

}

static void MX_SPI2_Init(void)
{

  /* SPI2 parameter configuration*/
  hspi2.Instance = SPI2;
  hspi2.Init.Mode = SPI_MODE_MASTER;
  hspi2.Init.Direction = SPI_DIRECTION_2LINES;
  hspi2.Init.DataSize = SPI_DATASIZE_16BIT;
  hspi2.Init.CLKPolarity = SPI_POLARITY_LOW;
  hspi2.Init.CLKPhase = SPI_PHASE_1EDGE;
  hspi2.Init.NSS = SPI_NSS_SOFT;
  hspi2.Init.BaudRatePrescaler = SPI_BAUDRATEPRESCALER_16;
  hspi2.Init.FirstBit = SPI_FIRSTBIT_MSB;
  hspi2.Init.TIMode = SPI_TIMODE_DISABLE;
  hspi2.Init.CRCCalculation = SPI_CRCCALCULATION_DISABLE;
  hspi2.Init.CRCPolynomial = 7;
  hspi2.Init.CRCLength = SPI_CRC_LENGTH_DATASIZE;
  hspi2.Init.NSSPMode = SPI_NSS_PULSE_ENABLE;
  if (HAL_SPI_Init(&hspi2) != HAL_OK)
  {
    Error_Handler();
  }

}

static void MX_TIM1_Init(void)
{

  TIM_MasterConfigTypeDef sMasterConfig = {0};
  TIM_OC_InitTypeDef sConfigOC = {0};
  TIM_BreakDeadTimeConfigTypeDef sBreakDeadTimeConfig = {0};

  htim1.Instance = TIM1;
  htim1.Init.Prescaler = 3;
  htim1.Init.CounterMode = TIM_COUNTERMODE_UP;
  htim1.Init.Period = 39999;
  htim1.Init.ClockDivision = TIM_CLOCKDIVISION_DIV1;
  htim1.Init.RepetitionCounter = 0;
  htim1.Init.AutoReloadPreload = TIM_AUTORELOAD_PRELOAD_DISABLE;
  if (HAL_TIM_PWM_Init(&htim1) != HAL_OK)
  {
    Error_Handler();
  }
  sMasterConfig.MasterOutputTrigger = TIM_TRGO_UPDATE;
  sMasterConfig.MasterOutputTrigger2 = TIM_TRGO2_RESET;
  sMasterConfig.MasterSlaveMode = TIM_MASTERSLAVEMODE_ENABLE;
  if (HAL_TIMEx_MasterConfigSynchronization(&htim1, &sMasterConfig) != HAL_OK)
  {
    Error_Handler();
  }
  sConfigOC.OCMode = TIM_OCMODE_COMBINED_PWM2;
  sConfigOC.Pulse = 45;
  sConfigOC.OCPolarity = TIM_OCPOLARITY_LOW;
  sConfigOC.OCNPolarity = TIM_OCNPOLARITY_HIGH;
  sConfigOC.OCFastMode = TIM_OCFAST_DISABLE;
  sConfigOC.OCIdleState = TIM_OCIDLESTATE_SET;
  sConfigOC.OCNIdleState = TIM_OCNIDLESTATE_RESET;
  if (HAL_TIM_PWM_ConfigChannel(&htim1, &sConfigOC, TIM_CHANNEL_1) != HAL_OK)
  {
    Error_Handler();
  }
  sConfigOC.OCMode = TIM_OCMODE_COMBINED_PWM1;
  sConfigOC.Pulse = 124;
  if (HAL_TIM_PWM_ConfigChannel(&htim1, &sConfigOC, TIM_CHANNEL_2) != HAL_OK)
  {
    Error_Handler();
  }
  sConfigOC.OCMode = TIM_OCMODE_COMBINED_PWM2;
  sConfigOC.Pulse = 125;
  if (HAL_TIM_PWM_ConfigChannel(&htim1, &sConfigOC, TIM_CHANNEL_3) != HAL_OK)
  {
    Error_Handler();
  }
  sConfigOC.OCMode = TIM_OCMODE_COMBINED_PWM1;
  sConfigOC.Pulse = 204;
  if (HAL_TIM_PWM_ConfigChannel(&htim1, &sConfigOC, TIM_CHANNEL_4) != HAL_OK)
  {
    Error_Handler();
  }
  sBreakDeadTimeConfig.OffStateRunMode = TIM_OSSR_DISABLE;
  sBreakDeadTimeConfig.OffStateIDLEMode = TIM_OSSI_DISABLE;
  sBreakDeadTimeConfig.LockLevel = TIM_LOCKLEVEL_OFF;
  sBreakDeadTimeConfig.DeadTime = 0;
  sBreakDeadTimeConfig.BreakState = TIM_BREAK_DISABLE;
  sBreakDeadTimeConfig.BreakPolarity = TIM_BREAKPOLARITY_HIGH;
  sBreakDeadTimeConfig.BreakFilter = 0;
  sBreakDeadTimeConfig.BreakAFMode = TIM_BREAK_AFMODE_INPUT;
  sBreakDeadTimeConfig.Break2State = TIM_BREAK2_DISABLE;
  sBreakDeadTimeConfig.Break2Polarity = TIM_BREAK2POLARITY_HIGH;
  sBreakDeadTimeConfig.Break2Filter = 0;
  sBreakDeadTimeConfig.Break2AFMode = TIM_BREAK_AFMODE_INPUT;
  sBreakDeadTimeConfig.AutomaticOutput = TIM_AUTOMATICOUTPUT_DISABLE;
  if (HAL_TIMEx_ConfigBreakDeadTime(&htim1, &sBreakDeadTimeConfig) != HAL_OK)
  {
    Error_Handler();
  }
  HAL_TIM_MspPostInit(&htim1);

}

static void MX_TIM3_Init(void)
{

  TIM_MasterConfigTypeDef sMasterConfig = {0};
  TIM_OC_InitTypeDef sConfigOC = {0};

  htim3.Instance = TIM3;
  htim3.Init.Prescaler = 0;
  htim3.Init.CounterMode = TIM_COUNTERMODE_UP;
  htim3.Init.Period = 39999;
  htim3.Init.ClockDivision = TIM_CLOCKDIVISION_DIV1;
  htim3.Init.AutoReloadPreload = TIM_AUTORELOAD_PRELOAD_DISABLE;
  if (HAL_TIM_PWM_Init(&htim3) != HAL_OK)
  {
    Error_Handler();
  }
  sMasterConfig.MasterOutputTrigger = TIM_TRGO_RESET;
  sMasterConfig.MasterSlaveMode = TIM_MASTERSLAVEMODE_DISABLE;
  if (HAL_TIMEx_MasterConfigSynchronization(&htim3, &sMasterConfig) != HAL_OK)
  {
    Error_Handler();
  }
  sConfigOC.OCMode = TIM_OCMODE_PWM1;
  sConfigOC.Pulse = 0;
  sConfigOC.OCPolarity = TIM_OCPOLARITY_HIGH;
  sConfigOC.OCFastMode = TIM_OCFAST_DISABLE;
  if (HAL_TIM_PWM_ConfigChannel(&htim3, &sConfigOC, TIM_CHANNEL_2) != HAL_OK)
  {
    Error_Handler();
  }
  HAL_TIM_MspPostInit(&htim3);

}

static void MX_TIM4_Init(void)
{

  TIM_ClockConfigTypeDef sClockSourceConfig = {0};
  TIM_SlaveConfigTypeDef sSlaveConfig = {0};
  TIM_MasterConfigTypeDef sMasterConfig = {0};

  htim4.Instance = TIM4;
  htim4.Init.Prescaler = 0;
  htim4.Init.CounterMode = TIM_COUNTERMODE_UP;
  htim4.Init.Period = 287;
  htim4.Init.ClockDivision = TIM_CLOCKDIVISION_DIV1;
  htim4.Init.AutoReloadPreload = TIM_AUTORELOAD_PRELOAD_DISABLE;
  if (HAL_TIM_Base_Init(&htim4) != HAL_OK)
  {
    Error_Handler();
  }
  sClockSourceConfig.ClockSource = TIM_CLOCKSOURCE_INTERNAL;
  if (HAL_TIM_ConfigClockSource(&htim4, &sClockSourceConfig) != HAL_OK)
  {
    Error_Handler();
  }
  sSlaveConfig.SlaveMode = TIM_SLAVEMODE_COMBINED_GATEDRESET;
  sSlaveConfig.InputTrigger = TIM_TS_ITR6;
  if (HAL_TIM_SlaveConfigSynchro(&htim4, &sSlaveConfig) != HAL_OK)
  {
    Error_Handler();
  }
  sMasterConfig.MasterOutputTrigger = TIM_TRGO_RESET;
  sMasterConfig.MasterSlaveMode = TIM_MASTERSLAVEMODE_ENABLE;
  if (HAL_TIMEx_MasterConfigSynchronization(&htim4, &sMasterConfig) != HAL_OK)
  {
    Error_Handler();
  }

}

static void MX_TIM7_Init(void)
{

  TIM_MasterConfigTypeDef sMasterConfig = {0};

  htim7.Instance = TIM7;
  htim7.Init.Prescaler = 249;
  htim7.Init.CounterMode = TIM_COUNTERMODE_UP;
  htim7.Init.Period = 63999;
  htim7.Init.AutoReloadPreload = TIM_AUTORELOAD_PRELOAD_DISABLE;
  if (HAL_TIM_Base_Init(&htim7) != HAL_OK)
  {
    Error_Handler();
  }
  sMasterConfig.MasterOutputTrigger = TIM_TRGO_UPDATE;
  sMasterConfig.MasterSlaveMode = TIM_MASTERSLAVEMODE_DISABLE;
  if (HAL_TIMEx_MasterConfigSynchronization(&htim7, &sMasterConfig) != HAL_OK)
  {
    Error_Handler();
  }

}

static void MX_TIM15_Init(void)
{

  TIM_SlaveConfigTypeDef sSlaveConfig = {0};
  TIM_MasterConfigTypeDef sMasterConfig = {0};
  TIM_OC_InitTypeDef sConfigOC = {0};
  TIM_BreakDeadTimeConfigTypeDef sBreakDeadTimeConfig = {0};

  htim15.Instance = TIM15;
  htim15.Init.Prescaler = 3;
  htim15.Init.CounterMode = TIM_COUNTERMODE_UP;
  htim15.Init.Period = 39999;
  htim15.Init.ClockDivision = TIM_CLOCKDIVISION_DIV1;
  htim15.Init.RepetitionCounter = 0;
  htim15.Init.AutoReloadPreload = TIM_AUTORELOAD_PRELOAD_DISABLE;
  if (HAL_TIM_Base_Init(&htim15) != HAL_OK)
  {
    Error_Handler();
  }
  if (HAL_TIM_PWM_Init(&htim15) != HAL_OK)
  {
    Error_Handler();
  }
  sSlaveConfig.SlaveMode = TIM_SLAVEMODE_TRIGGER;
  sSlaveConfig.InputTrigger = TIM_TS_ITR0;
  if (HAL_TIM_SlaveConfigSynchro(&htim15, &sSlaveConfig) != HAL_OK)
  {
    Error_Handler();
  }
  sMasterConfig.MasterOutputTrigger = TIM_TRGO_OC1REF;
  sMasterConfig.MasterSlaveMode = TIM_MASTERSLAVEMODE_ENABLE;
  if (HAL_TIMEx_MasterConfigSynchronization(&htim15, &sMasterConfig) != HAL_OK)
  {
    Error_Handler();
  }
  sConfigOC.OCMode = TIM_OCMODE_PWM1;
  sConfigOC.Pulse = 240;
  sConfigOC.OCPolarity = TIM_OCPOLARITY_HIGH;
  sConfigOC.OCNPolarity = TIM_OCNPOLARITY_HIGH;
  sConfigOC.OCFastMode = TIM_OCFAST_DISABLE;
  sConfigOC.OCIdleState = TIM_OCIDLESTATE_RESET;
  sConfigOC.OCNIdleState = TIM_OCNIDLESTATE_RESET;
  if (HAL_TIM_PWM_ConfigChannel(&htim15, &sConfigOC, TIM_CHANNEL_1) != HAL_OK)
  {
    Error_Handler();
  }
  sBreakDeadTimeConfig.OffStateRunMode = TIM_OSSR_DISABLE;
  sBreakDeadTimeConfig.OffStateIDLEMode = TIM_OSSI_DISABLE;
  sBreakDeadTimeConfig.LockLevel = TIM_LOCKLEVEL_OFF;
  sBreakDeadTimeConfig.DeadTime = 0;
  sBreakDeadTimeConfig.BreakState = TIM_BREAK_DISABLE;
  sBreakDeadTimeConfig.BreakPolarity = TIM_BREAKPOLARITY_HIGH;
  sBreakDeadTimeConfig.BreakFilter = 0;
  sBreakDeadTimeConfig.AutomaticOutput = TIM_AUTOMATICOUTPUT_DISABLE;
  if (HAL_TIMEx_ConfigBreakDeadTime(&htim15, &sBreakDeadTimeConfig) != HAL_OK)
  {
    Error_Handler();
  }

}

static void MX_TIM16_Init(void)
{

  TIM_OC_InitTypeDef sConfigOC = {0};
  TIM_BreakDeadTimeConfigTypeDef sBreakDeadTimeConfig = {0};

  htim16.Instance = TIM16;
  htim16.Init.Prescaler = 0;
  htim16.Init.CounterMode = TIM_COUNTERMODE_UP;
  htim16.Init.Period = 6399;
  htim16.Init.ClockDivision = TIM_CLOCKDIVISION_DIV1;
  htim16.Init.RepetitionCounter = 0;
  htim16.Init.AutoReloadPreload = TIM_AUTORELOAD_PRELOAD_DISABLE;
  if (HAL_TIM_Base_Init(&htim16) != HAL_OK)
  {
    Error_Handler();
  }
  if (HAL_TIM_PWM_Init(&htim16) != HAL_OK)
  {
    Error_Handler();
  }
  sConfigOC.OCMode = TIM_OCMODE_PWM1;
  sConfigOC.Pulse = 3200;
  sConfigOC.OCPolarity = TIM_OCPOLARITY_HIGH;
  sConfigOC.OCNPolarity = TIM_OCNPOLARITY_HIGH;
  sConfigOC.OCFastMode = TIM_OCFAST_DISABLE;
  sConfigOC.OCIdleState = TIM_OCIDLESTATE_RESET;
  sConfigOC.OCNIdleState = TIM_OCNIDLESTATE_RESET;
  if (HAL_TIM_PWM_ConfigChannel(&htim16, &sConfigOC, TIM_CHANNEL_1) != HAL_OK)
  {
    Error_Handler();
  }
  sBreakDeadTimeConfig.OffStateRunMode = TIM_OSSR_DISABLE;
  sBreakDeadTimeConfig.OffStateIDLEMode = TIM_OSSI_DISABLE;
  sBreakDeadTimeConfig.LockLevel = TIM_LOCKLEVEL_OFF;
  sBreakDeadTimeConfig.DeadTime = 0;
  sBreakDeadTimeConfig.BreakState = TIM_BREAK_DISABLE;
  sBreakDeadTimeConfig.BreakPolarity = TIM_BREAKPOLARITY_HIGH;
  sBreakDeadTimeConfig.BreakFilter = 0;
  sBreakDeadTimeConfig.AutomaticOutput = TIM_AUTOMATICOUTPUT_DISABLE;
  if (HAL_TIMEx_ConfigBreakDeadTime(&htim16, &sBreakDeadTimeConfig) != HAL_OK)
  {
    Error_Handler();
  }
  HAL_TIM_MspPostInit(&htim16);

}

static void MX_TIM17_Init(void)
{

  TIM_OC_InitTypeDef sConfigOC = {0};
  TIM_BreakDeadTimeConfigTypeDef sBreakDeadTimeConfig = {0};

  htim17.Instance = TIM17;
  htim17.Init.Prescaler = 0;
  htim17.Init.CounterMode = TIM_COUNTERMODE_UP;
  htim17.Init.Period = 200;
  htim17.Init.ClockDivision = TIM_CLOCKDIVISION_DIV1;
  htim17.Init.RepetitionCounter = 0;
  htim17.Init.AutoReloadPreload = TIM_AUTORELOAD_PRELOAD_DISABLE;
  if (HAL_TIM_Base_Init(&htim17) != HAL_OK)
  {
    Error_Handler();
  }
  if (HAL_TIM_PWM_Init(&htim17) != HAL_OK)
  {
    Error_Handler();
  }
  sConfigOC.OCMode = TIM_OCMODE_PWM1;
  sConfigOC.Pulse = 50;
  sConfigOC.OCPolarity = TIM_OCPOLARITY_HIGH;
  sConfigOC.OCNPolarity = TIM_OCNPOLARITY_HIGH;
  sConfigOC.OCFastMode = TIM_OCFAST_DISABLE;
  sConfigOC.OCIdleState = TIM_OCIDLESTATE_RESET;
  sConfigOC.OCNIdleState = TIM_OCNIDLESTATE_RESET;
  if (HAL_TIM_PWM_ConfigChannel(&htim17, &sConfigOC, TIM_CHANNEL_1) != HAL_OK)
  {
    Error_Handler();
  }
  sBreakDeadTimeConfig.OffStateRunMode = TIM_OSSR_DISABLE;
  sBreakDeadTimeConfig.OffStateIDLEMode = TIM_OSSI_DISABLE;
  sBreakDeadTimeConfig.LockLevel = TIM_LOCKLEVEL_OFF;
  sBreakDeadTimeConfig.DeadTime = 0;
  sBreakDeadTimeConfig.BreakState = TIM_BREAK_DISABLE;
  sBreakDeadTimeConfig.BreakPolarity = TIM_BREAKPOLARITY_HIGH;
  sBreakDeadTimeConfig.BreakFilter = 0;
  sBreakDeadTimeConfig.AutomaticOutput = TIM_AUTOMATICOUTPUT_DISABLE;
  if (HAL_TIMEx_ConfigBreakDeadTime(&htim17, &sBreakDeadTimeConfig) != HAL_OK)
  {
    Error_Handler();
  }
  HAL_TIM_MspPostInit(&htim17);

}

static void MX_TIM20_Init(void)
{

  TIM_SlaveConfigTypeDef sSlaveConfig = {0};
  TIM_MasterConfigTypeDef sMasterConfig = {0};
  TIM_OC_InitTypeDef sConfigOC = {0};
  TIM_BreakDeadTimeConfigTypeDef sBreakDeadTimeConfig = {0};

  htim20.Instance = TIM20;
  htim20.Init.Prescaler = 3;
  htim20.Init.CounterMode = TIM_COUNTERMODE_UP;
  htim20.Init.Period = 39999;
  htim20.Init.ClockDivision = TIM_CLOCKDIVISION_DIV1;
  htim20.Init.RepetitionCounter = 0;
  htim20.Init.AutoReloadPreload = TIM_AUTORELOAD_PRELOAD_DISABLE;
  if (HAL_TIM_Base_Init(&htim20) != HAL_OK)
  {
    Error_Handler();
  }
  if (HAL_TIM_PWM_Init(&htim20) != HAL_OK)
  {
    Error_Handler();
  }
  sSlaveConfig.SlaveMode = TIM_SLAVEMODE_TRIGGER;
  sSlaveConfig.InputTrigger = TIM_TS_ITR0;
  if (HAL_TIM_SlaveConfigSynchro(&htim20, &sSlaveConfig) != HAL_OK)
  {
    Error_Handler();
  }
  sMasterConfig.MasterOutputTrigger = TIM_TRGO_RESET;
  sMasterConfig.MasterOutputTrigger2 = TIM_TRGO2_RESET;
  sMasterConfig.MasterSlaveMode = TIM_MASTERSLAVEMODE_ENABLE;
  if (HAL_TIMEx_MasterConfigSynchronization(&htim20, &sMasterConfig) != HAL_OK)
  {
    Error_Handler();
  }
  sConfigOC.OCMode = TIM_OCMODE_COMBINED_PWM2;
  sConfigOC.Pulse = 205;
  sConfigOC.OCPolarity = TIM_OCPOLARITY_LOW;
  sConfigOC.OCNPolarity = TIM_OCNPOLARITY_HIGH;
  sConfigOC.OCFastMode = TIM_OCFAST_DISABLE;
  sConfigOC.OCIdleState = TIM_OCIDLESTATE_SET;
  sConfigOC.OCNIdleState = TIM_OCNIDLESTATE_RESET;
  if (HAL_TIM_PWM_ConfigChannel(&htim20, &sConfigOC, TIM_CHANNEL_1) != HAL_OK)
  {
    Error_Handler();
  }
  sConfigOC.OCMode = TIM_OCMODE_COMBINED_PWM1;
  sConfigOC.Pulse = 284;
  if (HAL_TIM_PWM_ConfigChannel(&htim20, &sConfigOC, TIM_CHANNEL_2) != HAL_OK)
  {
    Error_Handler();
  }
  sBreakDeadTimeConfig.OffStateRunMode = TIM_OSSR_DISABLE;
  sBreakDeadTimeConfig.OffStateIDLEMode = TIM_OSSI_DISABLE;
  sBreakDeadTimeConfig.LockLevel = TIM_LOCKLEVEL_OFF;
  sBreakDeadTimeConfig.DeadTime = 0;
  sBreakDeadTimeConfig.BreakState = TIM_BREAK_DISABLE;
  sBreakDeadTimeConfig.BreakPolarity = TIM_BREAKPOLARITY_HIGH;
  sBreakDeadTimeConfig.BreakFilter = 0;
  sBreakDeadTimeConfig.BreakAFMode = TIM_BREAK_AFMODE_INPUT;
  sBreakDeadTimeConfig.Break2State = TIM_BREAK2_DISABLE;
  sBreakDeadTimeConfig.Break2Polarity = TIM_BREAK2POLARITY_HIGH;
  sBreakDeadTimeConfig.Break2Filter = 0;
  sBreakDeadTimeConfig.Break2AFMode = TIM_BREAK_AFMODE_INPUT;
  sBreakDeadTimeConfig.AutomaticOutput = TIM_AUTOMATICOUTPUT_DISABLE;
  if (HAL_TIMEx_ConfigBreakDeadTime(&htim20, &sBreakDeadTimeConfig) != HAL_OK)
  {
    Error_Handler();
  }
  HAL_TIM_MspPostInit(&htim20);

}

static void MX_USART2_UART_Init(void)
{

  huart2.Instance = USART2;
  huart2.Init.BaudRate = 1000000;
  huart2.Init.WordLength = UART_WORDLENGTH_8B;
  huart2.Init.StopBits = UART_STOPBITS_1;
  huart2.Init.Parity = UART_PARITY_NONE;
  huart2.Init.Mode = UART_MODE_TX_RX;
  huart2.Init.HwFlowCtl = UART_HWCONTROL_NONE;
  huart2.Init.OverSampling = UART_OVERSAMPLING_16;
  huart2.Init.OneBitSampling = UART_ONE_BIT_SAMPLE_DISABLE;
  huart2.Init.ClockPrescaler = UART_PRESCALER_DIV1;
  huart2.AdvancedInit.AdvFeatureInit = UART_ADVFEATURE_NO_INIT;
  if (HAL_UART_Init(&huart2) != HAL_OK)
  {
    Error_Handler();
  }
  if (HAL_UARTEx_SetTxFifoThreshold(&huart2, UART_TXFIFO_THRESHOLD_1_8) != HAL_OK)
  {
    Error_Handler();
  }
  if (HAL_UARTEx_SetRxFifoThreshold(&huart2, UART_RXFIFO_THRESHOLD_1_8) != HAL_OK)
  {
    Error_Handler();
  }
  if (HAL_UARTEx_DisableFifoMode(&huart2) != HAL_OK)
  {
    Error_Handler();
  }

}

static void MX_USART3_UART_Init(void)
{

  huart3.Instance = USART3;
  huart3.Init.BaudRate = 115200;
  huart3.Init.WordLength = UART_WORDLENGTH_8B;
  huart3.Init.StopBits = UART_STOPBITS_1;
  huart3.Init.Parity = UART_PARITY_NONE;
  huart3.Init.Mode = UART_MODE_TX_RX;
  huart3.Init.HwFlowCtl = UART_HWCONTROL_NONE;
  huart3.Init.OverSampling = UART_OVERSAMPLING_16;
  huart3.Init.OneBitSampling = UART_ONE_BIT_SAMPLE_DISABLE;
  huart3.Init.ClockPrescaler = UART_PRESCALER_DIV1;
  huart3.AdvancedInit.AdvFeatureInit = UART_ADVFEATURE_NO_INIT;
  if (HAL_UART_Init(&huart3) != HAL_OK)
  {
    Error_Handler();
  }
  if (HAL_UARTEx_SetTxFifoThreshold(&huart3, UART_TXFIFO_THRESHOLD_1_8) != HAL_OK)
  {
    Error_Handler();
  }
  if (HAL_UARTEx_SetRxFifoThreshold(&huart3, UART_RXFIFO_THRESHOLD_1_8) != HAL_OK)
  {
    Error_Handler();
  }
  if (HAL_UARTEx_DisableFifoMode(&huart3) != HAL_OK)
  {
    Error_Handler();
  }

}

static void MX_DMA_Init(void)
{

  /* DMA controller clock enable */
  __HAL_RCC_DMAMUX1_CLK_ENABLE();
  __HAL_RCC_DMA1_CLK_ENABLE();
  __HAL_RCC_DMA2_CLK_ENABLE();

  /* DMA interrupt init */
  /* DMA1_Channel1_IRQn interrupt configuration */
  HAL_NVIC_SetPriority(DMA1_Channel1_IRQn, 0, 0);
  HAL_NVIC_EnableIRQ(DMA1_Channel1_IRQn);
  /* DMA1_Channel2_IRQn interrupt configuration */
  HAL_NVIC_SetPriority(DMA1_Channel2_IRQn, 0, 0);
  HAL_NVIC_EnableIRQ(DMA1_Channel2_IRQn);
  /* DMA1_Channel3_IRQn interrupt configuration */
  HAL_NVIC_SetPriority(DMA1_Channel3_IRQn, 0, 0);
  HAL_NVIC_EnableIRQ(DMA1_Channel3_IRQn);
  /* DMA1_Channel4_IRQn interrupt configuration */
  HAL_NVIC_SetPriority(DMA1_Channel4_IRQn, 0, 0);
  HAL_NVIC_EnableIRQ(DMA1_Channel4_IRQn);
  /* DMA1_Channel5_IRQn interrupt configuration */
  HAL_NVIC_SetPriority(DMA1_Channel5_IRQn, 0, 0);
  HAL_NVIC_EnableIRQ(DMA1_Channel5_IRQn);
  /* DMA1_Channel6_IRQn interrupt configuration */
  HAL_NVIC_SetPriority(DMA1_Channel6_IRQn, 0, 0);
  HAL_NVIC_EnableIRQ(DMA1_Channel6_IRQn);
  /* DMA1_Channel7_IRQn interrupt configuration */
  HAL_NVIC_SetPriority(DMA1_Channel7_IRQn, 0, 0);
  HAL_NVIC_EnableIRQ(DMA1_Channel7_IRQn);
  /* DMA2_Channel1_IRQn interrupt configuration */
  HAL_NVIC_SetPriority(DMA2_Channel1_IRQn, 0, 0);
  HAL_NVIC_EnableIRQ(DMA2_Channel1_IRQn);
  /* DMA1_Channel8_IRQn interrupt configuration */
  HAL_NVIC_SetPriority(DMA1_Channel8_IRQn, 0, 0);
  HAL_NVIC_EnableIRQ(DMA1_Channel8_IRQn);

}

static void MX_GPIO_Init(void)
{

  /* GPIO Ports Clock Enable */
  __HAL_RCC_GPIOA_CLK_ENABLE();
  __HAL_RCC_GPIOB_CLK_ENABLE();
  __HAL_RCC_GPIOC_CLK_ENABLE();

}

void Error_Handler(void)
{
  __disable_irq();
  while (1)
  {
  }
}

/************************ (C) COPYRIGHT STMicroelectronics *****END OF FILE****/
